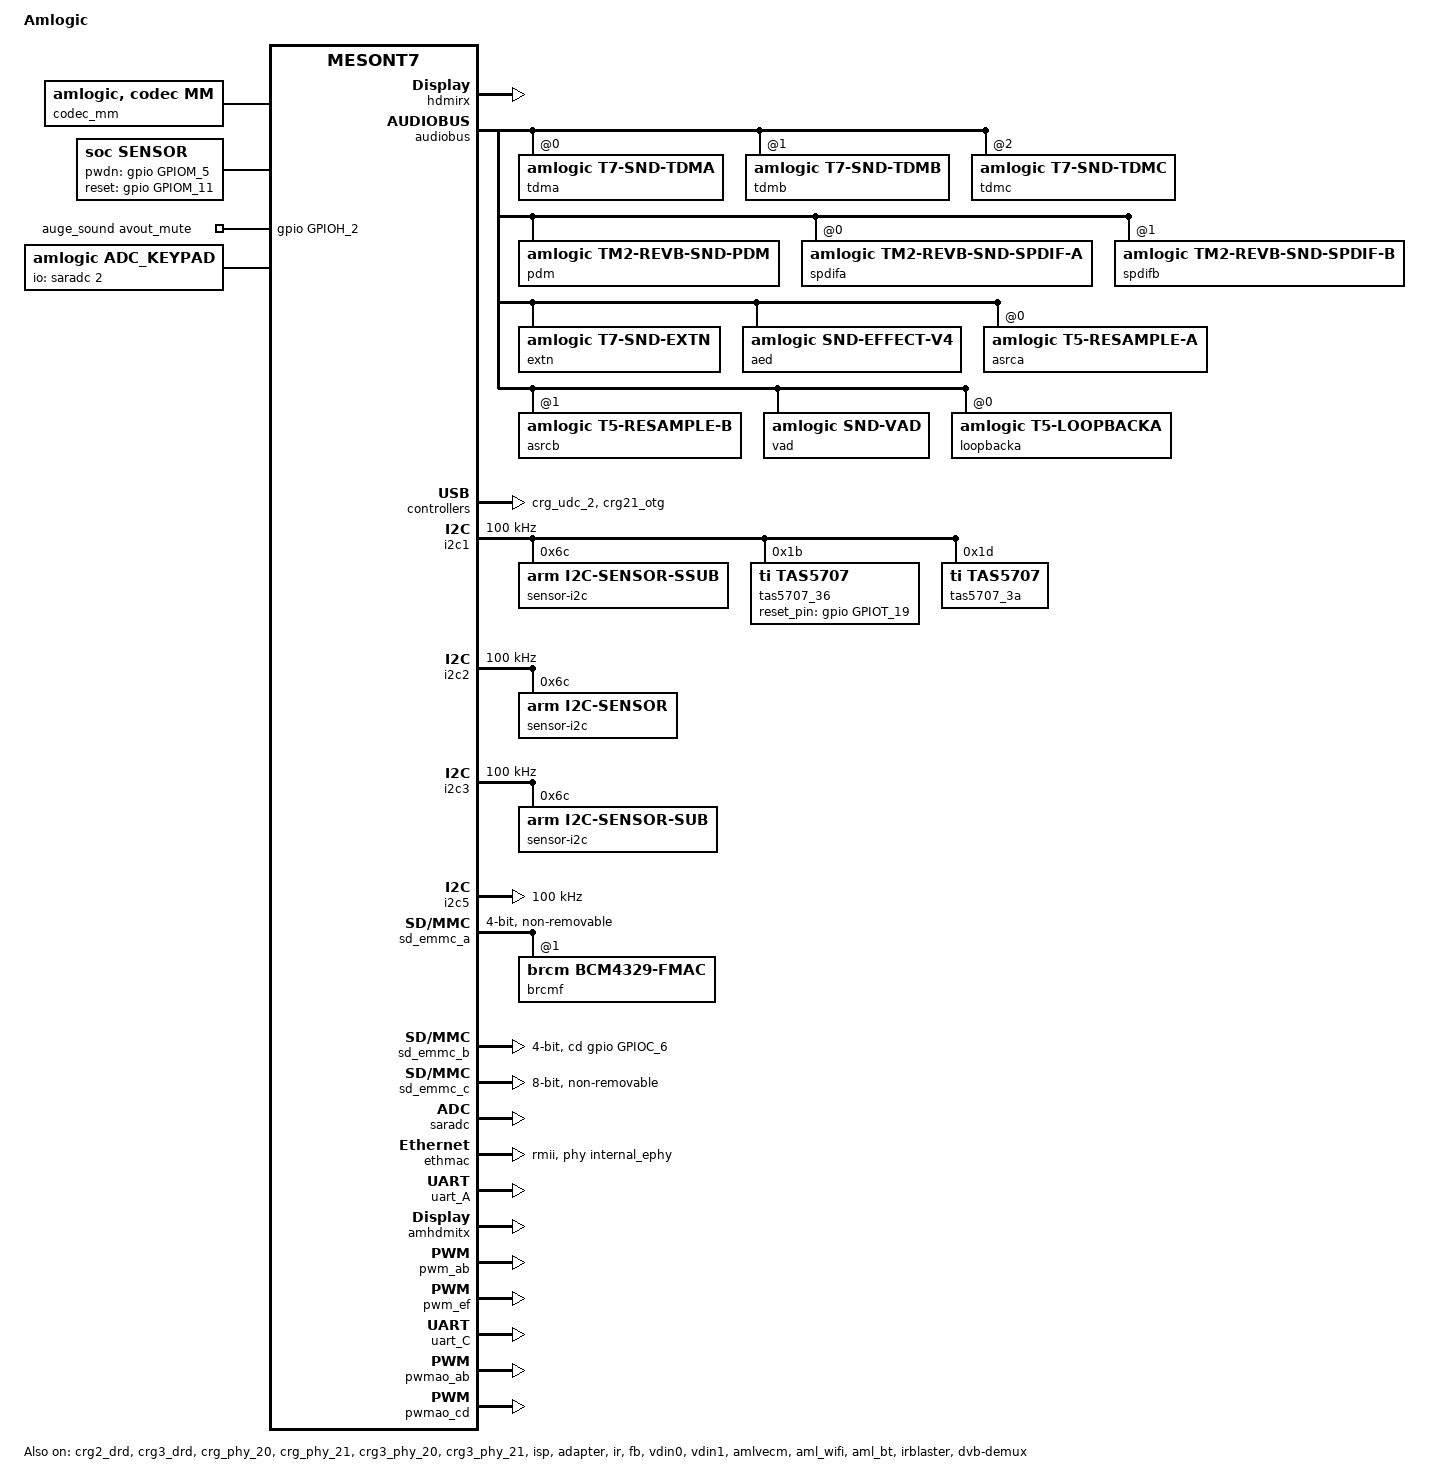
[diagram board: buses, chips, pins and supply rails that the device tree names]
// SPDX-License-Identifier: (GPL-2.0+ OR MIT)
/*
 * Copyright (c) 2021 Amlogic, Inc. All rights reserved.
 */

/dts-v1/;

#include "mesont7.dtsi"
#include "partition_normal_PR_32.dtsi"
#include <dt-bindings/input/input.h>
#include "mesont7_an400-panel.dtsi"

/ {
	model = "Amlogic";
	amlogic-dt-id = "t7_a311d2_an400-3g";
	compatible = "amlogic, t7";
	interrupt-parent = <&gic>;
	#address-cells = <2>;
	#size-cells = <2>;

	aliases {
		serial0 = &uart_A;
		serial1 = &uart_C;
		serial2 = &uart_B;
		serial3 = &uart_D;
		serial4 = &uart_E;
		serial5 = &uart_F;
		i2c0 = &i2c0;
		i2c1 = &i2c1;
		i2c2 = &i2c2;
		i2c3 = &i2c3;
		i2c4 = &i2c4;
		i2c5 = &i2c5;
		i2c6 = &i2c_AO_A;
		i2c7 = &i2c_AO_B;
		spi0 = &spifc;
		spi1 = &spicc0;
		spi2 = &spicc1;
		spi3 = &spicc2;
		spi4 = &spicc3;
		spi5 = &spicc4;
		spi6 = &spicc5;
		tsensor0 = &a73_tsensor;
		tsensor1 = &a53_tsensor;
		tsensor2 = &gpu_tsensor;
		tsensor3 = &nna_tsensor;
		tsensor4 = &hevc_tsensor;
		tsensor5 = &vpu_tsensor;
	};

	memory@00000000 {
		device_type = "memory";
		linux,usable-memory = <0x0 0x000000 0x0 0xC0000000>;
	};

	reserved-memory {
		#address-cells = <2>;
		#size-cells = <2>;
		ranges;

		/* global autoconfigured region for contiguous allocations */
		ramoops@0x07400000 {
			compatible = "ramoops";
			reg = <0x0 0x07400000 0x0 0x00100000>;
			record-size = <0x20000>;
			console-size = <0x40000>;
			ftrace-size = <0x80000>;
			pmsg-size = <0x10000>;
			bconsole-size = <0x10000>;
		};

		secmon_reserved:linux,secmon {
			compatible = "shared-dma-pool";
			reusable;
			size = <0x0 0x3400000>;
			alignment = <0x0 0x400000>;
			alloc-ranges = <0x0 0x05000000 0x0 0x3400000>;
			clear-map;
		};

		dsp_fw_reserved:linux,dsp_fw {
			compatible = "shared-dma-pool";
			reusable;
			size = <0x0 0x1000000>;
			alignment = <0x0 0x400000>;
			alloc-ranges = <0x0 0x40000000 0x0 0x1000000>;
		};

		/*dsp_shm_reserved:linux,dsp_shm {      */
		/*	compatible = "dspshmem";            */
		/*	reg = <0x0 0x40820000 0x0 0x80000>; */
		/*	size = <0x80000>;                   */
		/*};*/

		logo_reserved:linux,meson-fb {
			compatible = "shared-dma-pool";
			reusable;
			size = <0x0 0x800000>;
			alignment = <0x0 0x400000>;
			alloc-ranges = <0x0 0x3f800000 0x0 0x800000>;
		};

		codec_mm_cma:linux,codec_mm_cma {
			compatible = "shared-dma-pool";
			reusable;
			/* ion_codec_mm max can alloc size 80M*/
			size = <0x0 0x1b000000>;
			alignment = <0x0 0x400000>;
			linux,contiguous-region;
			clear-map;
		};

		/*di CMA pool */
		di_cma_reserved:linux,di_cma {
			compatible = "shared-dma-pool";
			reusable;
			/* buffer_size = 3621952(yuv422 8bit)
			 *  | 4736064(yuv422 10bit)
			 *  | 4074560(yuv422 10bit full pack mode)
			 * 10x3621952=34.6M(0x23) support 8bit
			 * 10x4736064=45.2M(0x2e) support 12bit
			 * 10x4074560=40M(0x28) support 10bit
			 */
			size = <0x0 0x0B000000>;
			//size = <0x0 0x0>;
			alignment = <0x0 0x400000>;
		};

		/*  POST PROCESS MANAGER */
		ppmgr_reserved:linux,ppmgr {
			compatible = "shared-dma-pool";
			size = <0x0 0x0>;
		};

		isp_cma_reserved:linux,isp_cma {
			compatible = "shared-dma-pool";
			reusable;
			status = "okay";
			size = <0x0 0x8000000>;
			alignment = <0x0 0x400000>;
		};

		adapt_cma_reserved:linux,adapt_cma {
			compatible = "shared-dma-pool";
			reusable;
			status = "okay";
			size = <0x0 0x4000000>;
			alignment = <0x0 0x400000>;
		};

		ion_cma_reserved:linux,ion-dev {
			compatible = "shared-dma-pool";
			reusable;
			size = <0x0 0x9800000>;
			alignment = <0x0 0x400000>;
		};
		/* secure ion for gpu,advice size is 0x8000000 */
		ion_secure_reserved:linux,ion-secure {
			compatible = "amlogic, ion-secure-mem";
			no-map;
			size = <0x0 0x0>;
			alignment = <0x0 0x400000>;
		};
		ion_fb_reserved:linux,ion-fb {
			compatible = "shared-dma-pool";
			reusable;
			/* 1920x1080x4x3 round up 4M align */
			size = <0x0 0x6000000>;
			alignment = <0x0 0x400000>;
		};
		/* codec shared reserved */
		codec_mm_reserved:linux,codec_mm_reserved {
			compatible = "amlogic, codec-mm-reserved";
			size = <0x0 0x0>;
			alignment = <0x0 0x100000>;
			//no-map;
		};

		/*  vdin0 CMA pool */
		/*vdin0_cma_reserved:linux,vdin0_cma {*/
		/*	compatible = "shared-dma-pool";*/
		/*	reusable;*/
			/* up to 1920x1080 yuv422 8bit and 5 buffers
			 * 1920x1080x2x5 = 20 M
			 */
		/*	size = <0x0 0x01400000>;*/
		/*	alignment = <0x0 0x400000>;*/
		/*};*/
		/*  vdin1 CMA pool */
		vdin1_cma_reserved:linux,vdin1_cma {
			compatible = "shared-dma-pool";
			reusable;
			/* up to 1920x1080 yuv422 8bit and 5 buffers
			 * 1920x1080x2x5 = 20 M
			 */
			size = <0x0 0x01400000>;
			alignment = <0x0 0x400000>;
		};

		ldc_mem_reserved:linux,ldc_mem {
			compatible = "shared-dma-pool";
			reusable;
			size = <0x0 0x400000>;
			alignment = <0x0 0x400000>;
		};
	};

	codec_mm {
		compatible = "amlogic, codec, mm";
		memory-region = <&codec_mm_cma &codec_mm_reserved>;
		dev_name = "codec_mm";
		status = "okay";
	};

	cvbsout {
		compatible = "amlogic, cvbsout-sc2";
		status = "disabled";

		/* clk path */
		/* 0:vid_pll vid2_clk */
		/* 1:gp0_pll vid2_clk */
		/* 2:vid_pll vid1_clk */
		/* 3:gp0_pll vid1_clk */
		clk_path = <0>;

		/* performance: reg_address, reg_value */
		/* tm2 */
		performance = <0x1bf0  0x9
			0x1b56  0x333
			0x1b12  0x8080
			0x1b05  0xfd
			0x1c59  0xf850
			0xffff  0x0>; /* ending flag */
		performance_sarft = <0x1bf0  0x9
			0x1b56  0x333
			0x1b12  0x0
			0x1b05  0x9
			0x1c59  0xfc48
			0xffff  0x0>; /* ending flag */
		performance_revB_telecom = <0x1bf0  0x9
			0x1b56  0x546
			0x1b12  0x8080
			0x1b05  0x9
			0x1c59  0xf850
			0xffff  0x0>; /* ending flag */
	};

	multi-di {
		//status = "okay";
		/***************************************************
		 * memory: default is 4
		 *	0:use reserved;
		 *	1:use cma;
		 *	2:use cma as reserved
		 *  4:use codec mem
		 ***************************************************/
		//flag_cma = <4>;
		//memory-region = <&di_cma_reserved>;
		/***************************************************
		 * clock-range: <min max>
		 *	default: <334 334>
		 ***************************************************/
		//clock-range = <334 334>;
		/***************************************************
		 * en_4k: t5d not support 4k
		 ***************************************************/
		en_4k = <0>;
		//keep_dec_vf = <2>;
		//po_fmt = <6>;
		/***************************************************
		 * post_nub: default is 11 (T7/T3/SC2/S4 new path)
		 * local 7*4075520 = 28
		 * post 11*5222400 = 56
		 ***************************************************/
		//post_nub = <11>;
		/***************************************************
		 * 0:not support
		 * bit 0: for 4k
		 * bit 1: for 1080p
		 ***************************************************/
		alloc_sct = <0>;
		/***************************************************
		 * hf: default is 0 (T7/T3/SC2/S4 new path)
		 * 0:not enable;
		 * 1: enable
		 ***************************************************/
		//hf = <0>;
	};

	provisionkey {
		compatible = "amlogic, provisionkey";
		status = "okay";
		key-permit-default = "write";
		//new key not need add dts if started with KEY_PROVISION_
		KEY_PROVISION_XXX { };
		//test_my_added_keyname { };
	};//End provisionkey

	unifykey{
		compatible = "amlogic,unifykey";
		status = "okay";
		unifykey-num = <19>;
		unifykey-index-0 = <&keysn_0>;
		unifykey-index-1 = <&keysn_1>;
		unifykey-index-2 = <&keysn_2>;
		unifykey-index-3 = <&keysn_3>;
		unifykey-index-4 = <&keysn_4>;
		unifykey-index-5 = <&keysn_5>;
		unifykey-index-6 = <&keysn_6>;
		unifykey-index-7 = <&keysn_7>;
		unifykey-index-8 = <&keysn_8>;
		unifykey-index-9 = <&keysn_9>;
		unifykey-index-10= <&keysn_10>;
		unifykey-index-11= <&keysn_11>;
		unifykey-index-12= <&keysn_12>;
		unifykey-index-13= <&keysn_13>;
		unifykey-index-14= <&keysn_14>;
		unifykey-index-15= <&keysn_15>;
		unifykey-index-16= <&keysn_16>;
		unifykey-index-17= <&keysn_17>;
		unifykey-index-18= <&keysn_18>;
		unifykey-index-19= <&keysn_19>;
		unifykey-index-20= <&keysn_20>;
		unifykey-index-21= <&keysn_21>;

		keysn_0: key_0{
			key-name = "usid";
			key-device = "normal";
			key-permit = "read","write","del";
		};
		keysn_1:key_1{
			key-name = "mac";
			key-device = "normal";
			key-permit = "read","write","del";
		};
		keysn_2:key_2{
			key-name = "hdcp";
			key-device = "secure";
			key-type = "sha1";
			key-permit = "read","write","del";
		};
		keysn_3:key_3{
			key-name = "secure_boot_set";
			key-device = "efuse";
			key-permit = "write";
		};
		keysn_4:key_4{
			key-name = "mac_bt";
			key-device = "normal";
			key-permit = "read","write","del";
			key-type  = "mac";
		};
		keysn_5:key_5{
			key-name = "mac_wifi";
			key-device = "normal";
			key-permit = "read","write","del";
			key-type = "mac";
		};
		keysn_6:key_6{
			key-name = "hdcp2_tx";
			key-device = "normal";
			key-permit = "read","write","del";
		};
		keysn_7:key_7{
			key-name = "hdcp2_rx";
			key-device = "normal";
			key-permit = "read","write","del";
		};
		keysn_8:key_8{
			key-name = "widevinekeybox";
			key-device = "secure";
			key-permit = "read","write","del";
		};
		keysn_9:key_9{
			key-name = "deviceid";
			key-device = "normal";
			key-permit = "read","write","del";
		};
		keysn_10:key_10{
			key-name = "hdcp22_fw_private";
			key-device = "secure";
			key-permit = "read","write","del";
		};
		keysn_11:key_11{
			key-name = "PlayReadykeybox25";
			key-device = "secure";
			key-permit = "read","write","del";
		};
		keysn_12:key_12{
			key-name = "prpubkeybox";// PlayReady
			key-device = "secure";
			key-permit = "read","write","del";
		};
		keysn_13:key_13{
			key-name = "prprivkeybox";// PlayReady
			key-device = "secure";
			key-permit = "read","write","del";
		};
		keysn_14:key_14{
			key-name = "attestationkeybox";// attestation key
			key-device = "secure";
			key-permit = "read","write","del";
		};
		keysn_15:key_15{
			key-name = "region_code";
			key-device = "normal";
			key-permit = "read","write","del";
		};
		keysn_16:key_16{
			key-name = "netflix_mgkid";
			key-device = "secure";
			key-permit = "read","write","del";
		};
		keysn_17:key_17{
			key-name = "attestationdevidbox";// attest dev id box
			key-device = "secure";
			key-permit = "read","write","del";
		};
		keysn_18:key_18{
			key-name = "oemkey";
			key-device = "normal";
			key-permit = "read","write","del";
		};
		keysn_19:key_19{
			key-name = "lcd";
			key-device = "normal";
			key-permit = "read","write","del";
		};
		keysn_20:key_20{
			key-name = "lcd_extern";
			key-device = "normal";
			key-permit = "read","write","del";
		};
		keysn_21:key_21{
			key-name = "backlight";
			key-device = "normal";
			key-permit = "read","write","del";
		};
	};//End unifykey

	sensor: sensor {
		compatible = "soc, sensor";
		status = "okay";
		sensor-name = "imx290"; /*imx290;os08a10;imx227*/
		sensor-name-sub = "imx290sub";
		sensor-name-ssub = "imx290ssub";
		pinctrl-names= "default";
		power-domains = <&pwrdm PDID_T7_MIPI_ISP>;
		clocks = <&clkc CLKID_MCLK_0>,
				<&clkc CLKID_MCLK_1>,
				<&clkc CLKID_MCLK_0_PRE>,
				<&clkc CLKID_MCLK_1_PRE>,
				<&clkc CLKID_MCLK_PLL>,
				<&xtal>;
		clock-names = "mclk_0","mclk_1","mclk_0_pre","mclk_1_pre","mclk_p","mclk_x";
		pwdn = <&gpio GPIOM_5 GPIO_ACTIVE_HIGH>;
		reset = <&gpio GPIOM_11 GPIO_ACTIVE_HIGH>;
	};

	iq: iq {
		compatible = "soc, iq";
		status = "okay";
		sensor-name = "imx290"; /*imx290;os08a10;imx227*/
	};

	hdmirx {
		compatible = "amlogic, hdmirx_t7";
		#address-cells=<1>;
		#size-cells=<1>;
		/*memory-region = <&hdmirx_emp_cma_reserved>;*/
		status = "okay";
		pinctrl-names = "hdmirx_pins";
		pinctrl-0 = <&hdmirx_a_mux &hdmirx_b_mux
			&hdmirx_c_mux>;
		repeat = <0>;
		power-domains = <&pwrdm PDID_T7_HDMIRX>;
		interrupts = <0 57 IRQ_TYPE_LEVEL_HIGH>;
		clocks =<&clkc CLKID_HDMIRX_CFG>,
			   <&clkc CLKID_HDMIRX_ACR>,
			   <&clkc CLKID_HDMIRX_METER>,
			   <&clkc CLKID_HDMIRX_2M>,
			   <&clkc CLKID_HDMIRX_5M>,
			   <&clkc CLKID_HDMIRX_HDCP>,
			   <&xtal>,
			   <&clkc CLKID_FCLK_DIV4>,
			   <&clkc CLKID_FCLK_DIV5>;
		clock-names = "hdmirx_cfg_clk",
				"cts_hdmirx_acr_ref_clk",
				"cts_hdmirx_meter_clk",
				"cts_hdmirx_2m_clk",
				"cts_hdmirx_5m_clk",
				"cts_hdmirx_hdcp2x_eclk",
				"xtal",
				"fclk_div4",
				"fclk_div5";
		hdmirx_id = <0>;
		en_4k_2_2k = <0>;
		hpd_low_cec_off = <0>;
		arc_port = <1>;
		/* bit4: enable feature, bit3~0: port number */
		disable_port = <0x0>;
		/* MAP_ADDR_MODULE_CBUS */
		/* MAP_ADDR_MODULE_HIU */
		/* MAP_ADDR_MODULE_HDMIRX_CAPB3 */
		/* MAP_ADDR_MODULE_SEC_AHB */
		/* MAP_ADDR_MODULE_SEC_AHB2 */
		/* MAP_ADDR_MODULE_APB4 */
		/* MAP_ADDR_MODULE_TOP */
		/* MAP_ADDR_MODULE_CLK_CTRL */
		reg = < 0x0 0x0 0x0 0x0
			0x0 0xff63C000 0x0 0x2000
			0x0 0xffe0d000 0x0 0x2000
			0x0 0x0 0x0 0x0
			0x0 0x0 0x0 0x0
			0x0 0x0 0x0 0x0
			0x0 0xfe398000 0x0 0x18000
			0x0 0xfe000000 0x0 0x1fff>;
	};

	/* Audio Related start */
	auge_sound {
		compatible = "amlogic, auge-sound-card";
		aml-audio-card,name = "AML-AUGESOUND";

		/*avout mute gpio*/
		avout_mute-gpios = <&gpio GPIOH_2 GPIO_ACTIVE_HIGH>;
		//spk_mute-gpios = <&gpio GPIOD_2 GPIO_ACTIVE_LOW>;

		interrupts = <GIC_SPI 51 IRQ_TYPE_EDGE_RISING>;
		interrupt-names = "audio_exception64";

		status = "okay";

		aml-audio-card,dai-link@0 {
			format = "dsp_a";
			mclk-fs = <512>;
			continuous-clock;
			//bitclock-inversion;
			//frame-inversion;
			/* master mode */
			bitclock-master = <&tdma>;
			frame-master = <&tdma>;
			/* slave mode */
			/*
			 * bitclock-master = <&tdmacodec>;
			 * frame-master = <&tdmacodec>;
			 */
			/* suffix-name, sync with android audio hal used for */
			suffix-name = "alsaPORT-pcm";
			tdmacpu: cpu {
				sound-dai = <&tdma>;
				dai-tdm-slot-tx-mask =
							<1>;
				dai-tdm-slot-rx-mask =
							<1>;
				dai-tdm-slot-num = <2>;
				dai-tdm-slot-width = <16>;
				system-clock-frequency = <256000>;
			};
			tdmacodec: codec {
				sound-dai = <&dummy_codec>;
			};
		};

		aml-audio-card,dai-link@1 {
			format = "i2s";
			mclk-fs = <256>;
			continuous-clock;
			//bitclock-inversion;
			//frame-inversion;
			/* master mode */
			bitclock-master = <&tdmb>;
			frame-master = <&tdmb>;
			/* slave mode */
			//bitclock-master = <&tdmbcodec>;
			//frame-master = <&tdmbcodec>;
			/* suffix-name, sync with android audio hal used for */
			suffix-name = "alsaPORT-i2s-i2s4hdmirx";
			cpu {
				sound-dai = <&tdmb>;
				dai-tdm-slot-tx-mask = <1 1>;
				dai-tdm-slot-rx-mask = <1 1>;
				dai-tdm-slot-num = <2>;
				dai-tdm-slot-width = <32>;
				system-clock-frequency = <12288000>;
			};
			tdmbcodec: codec {
				prefix-names = "AMP", "AMP1";
				sound-dai = <&tas5707_36 &tas5707_3a &acodec>;
			};
		};

		aml-audio-card,dai-link@2 {
			format = "i2s";
			mclk-fs = <256>;
			//continuous-clock;
			//bitclock-inversion;
			//frame-inversion;
			/* master mode */
			bitclock-master = <&tdmc>;
			frame-master = <&tdmc>;
			/* slave mode */
			//bitclock-master = <&tdmccodec>;
			//frame-master = <&tdmccodec>;
			/* suffix-name, sync with android audio hal used for */
			suffix-name = "alsaPORT-i2s4parser";
			cpu {
				sound-dai = <&tdmc>;
				dai-tdm-slot-tx-mask = <1 1>;
				dai-tdm-slot-rx-mask = <1 1>;
				dai-tdm-slot-num = <2>;
				dai-tdm-slot-width = <32>;
				system-clock-frequency = <12288000>;
			};
			tdmccodec: codec {
				sound-dai = <&dummy_codec>;
			};
		};

		aml-audio-card,dai-link@3 {
			mclk-fs = <64>;
			/* suffix-name, sync with android audio hal used for */
			suffix-name = "alsaPORT-pdm";
			cpu {
				sound-dai = <&pdm>;
			};
			codec {
				sound-dai = <&dummy_codec>;
			};
		};

		aml-audio-card,dai-link@4 {
			mclk-fs = <128>;
			continuous-clock;
			/* suffix-name, sync with android audio hal used for */
			suffix-name = "alsaPORT-spdif";
			cpu {
				sound-dai = <&spdifa>;
				system-clock-frequency = <6144000>;
			};
			codec {
				sound-dai = <&dummy_codec>;
			};
		};

		aml-audio-card,dai-link@5 {
			mclk-fs = <128>;
			suffix-name = "alsaPORT-spdifb";
			cpu {
				sound-dai = <&spdifb>;
				system-clock-frequency = <6144000>;
			};
			codec {
				sound-dai = <&dummy_codec>;
			};
		};

		aml-audio-card,dai-link@6 {
			mclk-fs = <256>;
			suffix-name = "alsaPORT-tv";
			cpu {
				sound-dai = <&extn>;
				system-clock-frequency = <12288000>;
			};
			codec {
				sound-dai = <&dummy_codec>;
			};
		};

//		aml-audio-card,dai-link@7 {
//			mclk-fs = <256>;
//			suffix-name = "alsaPORT-earc";
//			cpu {
//				sound-dai = <&earc>;
//				system-clock-frequency = <12288000>;
//			};
//			codec {
//				sound-dai = <&dummy_codec>;
//			};
//		};

		aml-audio-card,dai-link@7 {
			mclk-fs = <256>;
			continuous-clock;
			suffix-name = "alsaPORT-loopback";
			cpu {
				sound-dai = <&loopbacka>;
				system-clock-frequency = <12288000>;
			};
			codec {
				sound-dai = <&dummy_codec>;
			};
		};
	};
	/* Audio Related end */

	picdec {
		compatible = "amlogic, picdec";
		status = "okay";
	};

	ppmgr {
		compatible = "amlogic, ppmgr";
		memory-region = <&ppmgr_reserved>;
		dev_name = "ppmgr";
		status = "okay";
	};

	video_queue {
		compatible = "amlogic, video_queue";
		dev_name = "videoqueue";
		status = "okay";
	};

	amdolby_vision {
		compatible = "amlogic, dolby_vision_t7";
		dev_name = "aml_amdolby_vision_driver";
		status = "okay";
		tv_mode = <1>;/*1:enabel ;0:disable*/
	};

    /* SMC */
	smartcard {
		compatible = "amlogic,smartcard-sc2";
		dev_name = "smartcard";
		status = "disabled";

		reg = <0x0 0xfe000000 0x0 0x480000>;
		irq_trigger_type = "GPIO_IRQ_LOW";

		reset_pin-gpios = <&gpio GPIOH_7 GPIO_ACTIVE_HIGH>;
		detect_pin-gpios = <&gpio GPIOH_6 GPIO_ACTIVE_HIGH>;
		enable_5v3v_pin-gpios = <&gpio GPIOT_11 GPIO_ACTIVE_HIGH>;
		enable_pin-gpios = <&gpio GPIOT_12 GPIO_ACTIVE_HIGH>;

		interrupts = <0 174 1>;
		interrupt-names = "smc0_irq";
		/*
		 *Smc clock source, if change this,
		 *you must adjust clk and divider in smartcard.c
		 */
		smc0_clock_source = <0>;
		/*0: high voltage on detect pin indicates card in.*/
		smc0_det_invert = <0>;
		smc0_5v3v_level = <0>;
		/*Ordinarily,smartcard controller needs a enable pin.*/
		smc_need_enable_pin = "yes";
		reset_level = <0>;
		smc0_enable_level = <0>;

		pinctrl-names = "default";
		pinctrl-0 = <&sd_iso7816_pins>;
		clocks = <&clkc CLKID_SC_CLK_GATE>;
		clock-names = "smartcard";
	};

	dvb-extern {
		compatible = "amlogic, dvb-extern";
		dev_name = "dvb-extern";
		/*GPIOT-19 conflict with audio speaker */
		status = "disabled";

		fe_num = <2>;
		fe0_demod = "cxd2856";
		fe0_i2c_adap_id = <&i2c5>;
		fe0_demod_i2c_addr = <0xD8>;
		fe0_reset_value = <0>;
		fe0_reset_gpio = <&gpio GPIOT_19 GPIO_ACTIVE_HIGH>;
		fe0_reset_dir = <1>; /* 0: out, 1: in. */
		fe0_ant_poweron_value = <0>;
		fe0_ant_power_gpio = <&gpio GPIOT_18 GPIO_ACTIVE_HIGH>;
		fe0_ts  = <0>;
		fe0_tuner0 = <0>; /* T/C */
		fe0_tuner1 = <1>; /* S */

		fe1_demod = "cxd2856";
		fe1_i2c_adap_id = <&i2c5>;
		fe1_demod_i2c_addr = <0xCA>;
		fe1_reset_value = <0>;
		fe1_reset_gpio = <&gpio GPIOT_19 GPIO_ACTIVE_HIGH>;
		fe1_reset_dir = <1>; /* 0: out, 1: in. */
		fe1_ant_poweron_value = <0>;
		fe1_ant_power_gpio = <&gpio GPIOT_18 GPIO_ACTIVE_HIGH>;
		fe1_ts  = <1>;
		fe1_tuner0 = <0>; /* T/C */
		fe1_tuner1 = <1>; /* S */

		tuner_num = <2>; /* for extern demod use tuner */
		tuner0_name = "r836_tuner";
		tuner1_name = "av2018_tuner";
	};

	dvb-demux {
		compatible = "amlogic sc2, dvb-demux";
		dev_name = "dvb-demux";
		status = "okay";

		reg = <0x0 0xfe000000 0x0 0x480000>;

		dmxdev_num = <3>;

		tsn_from = "demod";

		/*single demod setting */
		ts0_sid = <0x20>;
		ts0 = "serial-4wire"; /* tsinA: serial-4wire, serial-3wire */
		ts0_control = <0x0>;
		ts0_invert = <0>;

		ts1_sid = <0x21>;
		ts1 = "serial-4wire";
		ts1_control = <0x0>;
		ts1_invert = <0>;

		pinctrl-names = "s_ts0", "s_ts1";
		pinctrl-0 = <&dvb_s_ts0_pins>;
		pinctrl-1 = <&dvb_s_ts1_pins>;
	};

	ionvideo {
		compatible = "amlogic, ionvideo";
		dev_name = "ionvideo";
		status = "okay";
	};

	amlvideo2_0 {
		compatible = "amlogic, amlvideo2";
		dev_name = "amlvideo2";
		status = "okay";
		amlvideo2_id = <0>;
		cma_mode = <1>;
	};

	amlvideo2_1 {
		compatible = "amlogic, amlvideo2";
		dev_name = "amlvideo2";
		status = "okay";
		amlvideo2_id = <1>;
		cma_mode = <1>;
	};

	adc_keypad {
		compatible = "amlogic, adc_keypad";
		status = "okay";
		key_name = "update", "vol-", "vol+", "enter";
		key_num = <4>;
		io-channels = <&saradc 2>;
		io-channel-names = "key-chan-2";
		key_chan = <2 2 2 2>;
		key_code = <141 114 115 28>;
		key_val = <0 143 266 389>; //val=voltage/1800mV*1023
		key_tolerance = <40 40 40 40>;
	};
};

&audiobus {
	tdma:tdm@0 {
		compatible = "amlogic, t7-snd-tdma";
		#sound-dai-cells = <0>;

		dai-tdm-lane-slot-mask-in = <1 0>;
		dai-tdm-lane-slot-mask-out = <1 1>;
		dai-tdm-clk-sel = <0>;

		clocks = <&clkaudio CLKID_AUDIO_MCLK_A
				&clkc CLKID_MPLL0>;
		clock-names = "mclk", "clk_srcpll";

		status = "okay";
	};

	tdmb:tdm@1 {
		compatible = "amlogic, t7-snd-tdmb";
		#sound-dai-cells = <0>;

		dai-tdm-lane-slot-mask-in = <1 1 1 1>;
		dai-tdm-lane-slot-mask-out = <1 1 1 1>;
		dai-tdm-clk-sel = <1>;

		clocks = <&clkaudio CLKID_AUDIO_MCLK_B
				&clkaudio CLKID_AUDIO_MCLK_PAD1
				&clkc CLKID_MPLL1>;
		clock-names = "mclk", "mclk_pad", "clk_srcpll";

		pinctrl-names = "tdm_pins";
		pinctrl-0 = <&mclk_1_pins
			&tdm_b_pins
			&tdm_d4_pins
			&tdm_d5_pins
			&tdm_clk_pins>;

		/*
		 * 0: tdmout_a;
		 * 1: tdmout_b;
		 * 2: tdmout_c;
		 * 3: spdifout;
		 * 4: spdifout_b;
		 */
		samesource_sel = <3>;

		/* In for ACODEC_ADC */
		/* tdmin-src-name = "acodec_adc"; */
		tdmin-src-name = "hdmirx";
		/*enable default mclk(12.288M), before extern codec start*/
		start_clk_enable = <1>;
		ctrl_gain = <1>;
		/*tdm clk tuning enable*/
		clk_tuning_enable = <1>;
		status = "okay";

		/* !!!For --TV platform-- ONLY */
		Channel_Mask {
			/*i2s has 4 pins, 8channel, mux output*/
			Spdif_samesource_Channel_Mask = "i2s_2/3";
		};
	};

	tdmc:tdm@2 {
		compatible = "amlogic, t7-snd-tdmc";
		#sound-dai-cells = <0>;

		dai-tdm-lane-slot-mask-in = <1 1 1 1>;
		dai-tdm-lane-slot-mask-out = <1 1 1 1>;
		dai-tdm-clk-sel = <2>;

		clocks = <&clkaudio CLKID_AUDIO_MCLK_C
				&clkc CLKID_MPLL2>;
		clock-names = "mclk", "clk_srcpll";
		tdmin-src-name = "hdmirx";
		i2s2hdmi = <1>;

		status = "okay";
	};

	pdm:pdm {
		compatible = "amlogic, tm2-revb-snd-pdm";
		#sound-dai-cells = <0>;

		clocks = <&clkaudio CLKID_AUDIO_GATE_PDM
			&clkc CLKID_FCLK_DIV3
			&clkc CLKID_MPLL3
			&clkaudio CLKID_AUDIO_PDMIN0
			&clkaudio CLKID_AUDIO_PDMIN1>;
		clock-names = "gate",
			"sysclk_srcpll",
			"dclk_srcpll",
			"pdm_dclk",
			"pdm_sysclk";

		pinctrl-names = "pdm_pins";
		pinctrl-0 = <&pdmin_pins>;

		/* mode 0~4, defalut:1 */
		filter_mode = <1>;

		train_sample_count = <0xb>;

		status = "okay";
	};

	spdifa:spdif@0 {
		compatible = "amlogic, tm2-revb-snd-spdif-a";
		#sound-dai-cells = <0>;

		clocks = <&clkc CLKID_MPLL0
				&clkc CLKID_FCLK_DIV4
				&clkaudio CLKID_AUDIO_GATE_SPDIFIN
				&clkaudio CLKID_AUDIO_GATE_SPDIFOUT_A
				&clkaudio CLKID_AUDIO_SPDIFIN
				&clkaudio CLKID_AUDIO_SPDIFOUT_A>;
		clock-names = "sysclk", "fixed_clk", "gate_spdifin",
				"gate_spdifout", "clk_spdifin", "clk_spdifout";
		interrupts =
				<GIC_SPI 35 IRQ_TYPE_EDGE_RISING>;

		interrupt-names = "irq_spdifin";
		pinctrl-names = "spdif_pins", "spdif_pins_mute";
		pinctrl-0 = <&spdifout_d>;
		pinctrl-1 = <&spdifout_d_mute>;

		samesource_sel = <4>;

		/*spdif clk tuning enable*/
		clk_tuning_enable = <1>;
		status = "okay";
	};
	spdifb:spdif@1 {
		compatible = "amlogic, tm2-revb-snd-spdif-b";
		#sound-dai-cells = <0>;
		clocks = <&clkc CLKID_MPLL2 /*CLKID_HIFI_PLL*/
				&clkaudio CLKID_AUDIO_GATE_SPDIFOUT_B
				&clkaudio CLKID_AUDIO_SPDIFOUT_B>;
		clock-names = "sysclk",
				"gate_spdifout", "clk_spdifout";

		status = "okay";
	};

	extn:extn {
		compatible = "amlogic, t7-snd-extn";
		#sound-dai-cells = <0>;

		interrupts =
				<GIC_SPI 42 IRQ_TYPE_EDGE_RISING>;
		interrupt-names = "irq_frhdmirx";

		status = "okay";
	};

	aed:effect {
		compatible = "amlogic, snd-effect-v4";
		#sound-dai-cells = <0>;

		clocks = <&clkaudio CLKID_AUDIO_GATE_EQDRC
			&clkc CLKID_FCLK_DIV5
			&clkaudio CLKID_AUDIO_EQDRC>;
		clock-names = "gate", "srcpll", "eqdrc";

		/*
		 * 0:tdmout_a
		 * 1:tdmout_b
		 * 2:tdmout_c
		 * 3:spdifout
		 * 4:spdifout_b
		 */
		eqdrc_module = <1>;
		/* max 0xf, each bit for one lane, usually one lane */
		lane_mask = <0x1>;
		/* max 0xff, each bit for one channel */
		channel_mask = <0xff>;

		status = "okay";
	};

	asrca:resample@0 {
		compatible = "amlogic, t5-resample-a";
		clocks = <&clkc CLKID_MPLL1
			&clkaudio CLKID_AUDIO_MCLK_B
			&clkaudio CLKID_AUDIO_RESAMPLE_A>;
		clock-names = "resample_pll", "resample_src", "resample_clk";

		/*same with toddr_src
		 *	TDMIN_A,    0
		 *	TDMIN_B,    1
		 *	TDMIN_C,    2
		 *	SPDIFIN,    3
		 *	PDMIN,      4
		 *	FRATV,      5
		 *	TDMIN_LB,   6
		 *	LOOPBACK_A, 7
		 *	FRHDMIRX,   8
		 *	LOOPBACK_B, 9
		 *	SPDIFIN_LB, 10
		 *	EARC_RX,    11
		 */
		resample_module = <8>;

		status = "okay";
	};

	asrcb:resample@1 {
		compatible = "amlogic, t5-resample-b";
		clocks = <&clkc CLKID_MPLL3
			&clkaudio CLKID_AUDIO_MCLK_F
			&clkaudio CLKID_AUDIO_RESAMPLE_B>;
		clock-names = "resample_pll", "resample_src", "resample_clk";

		/*this resample is only used for loopback_A.*/
		capture_sample_rate = <16000>;

		status = "okay";
	};

	vad:vad {
		compatible = "amlogic, snd-vad";
		#sound-dai-cells = <0>;

		clocks = <&clkaudio CLKID_AUDIO_GATE_TOVAD
			&clkc CLKID_FCLK_DIV5
			&clkaudio CLKID_AUDIO_VAD>;
		clock-names = "gate", "pll", "clk";

		interrupts = <GIC_SPI 39 IRQ_TYPE_EDGE_RISING
				GIC_SPI 44 IRQ_TYPE_EDGE_RISING>;
		interrupt-names = "irq_wakeup", "irq_frame_sync";

		/*
		 * Data src sel:
		 * 0: tdmin_a;
		 * 1: tdmin_b;
		 * 2: tdmin_c;
		 * 3: spdifin;
		 * 4: pdmin;
		 * 5: loopback_b;
		 * 6: tdmin_lb;
		 * 7: loopback_a;
		 */
		src = <4>;

		/*
		 * deal with hot word in user space or kernel space
		 * 0: in user space
		 * 1: in kernel space
		 */
		level = <1>;

		status = "okay";
	};

	loopbacka:loopback@0 {
		compatible = "amlogic, t5-loopbacka";
		#sound-dai-cells = <0>;

		clocks = <&clkaudio CLKID_AUDIO_GATE_PDM
			&clkc CLKID_FCLK_DIV3
			&clkc CLKID_MPLL3
			&clkaudio CLKID_AUDIO_PDMIN0
			&clkaudio CLKID_AUDIO_PDMIN1
			&clkc CLKID_MPLL3
			&clkaudio CLKID_AUDIO_MCLK_A>;
		clock-names = "pdm_gate",
			"pdm_sysclk_srcpll",
			"pdm_dclk_srcpll",
			"pdm_dclk",
			"pdm_sysclk",
			"tdminlb_mpll",
			"tdminlb_mclk";

		/* datain src
		 * 0: tdmin_a;
		 * 1: tdmin_b;
		 * 2: tdmin_c;
		 * 3: spdifin;
		 * 4: pdmin;
		 */
		datain_src = <4>;
		datain_chnum = <4>;
		datain_chmask = <0xf>;
		/* config which data pin for loopback */
		datain-lane-mask-in = <1 0 1 0>;

		/* calc mclk for datalb */
		mclk-fs = <256>;

		/* tdmin_lb src
		 * 0: tdmoutA
		 * 1: tdmoutB
		 * 2: tdmoutC
		 * 3: PAD_TDMINA_DIN*, refer to core pinmux
		 * 4: PAD_TDMINB_DIN*, refer to core pinmux
		 * 5: PAD_TDMINC_DIN*, refer to core pinmux
		 * 6: PAD_TDMINA_D*, oe, refer to core pinmux
		 * 7: PAD_TDMINB_D*, oe, refer to core pinmux
		 */
		/* if tdmin_lb >= 3, use external loopback */
		datalb_src = <1>;
		datalb_chnum = <2>;
		datalb_chmask = <0x3>;
		/* config which data pin as loopback */
		datalb-lane-mask-in = <1 0 0 0>;

		status = "okay";
	};

	loopbackb:loopback@1 {
		compatible = "amlogic, t5-loopbackb";
		#sound-dai-cells = <0>;

		clocks = <&clkaudio CLKID_AUDIO_GATE_PDM
			&clkc CLKID_FCLK_DIV3
			&clkc CLKID_MPLL3
			&clkaudio CLKID_AUDIO_PDMIN0
			&clkaudio CLKID_AUDIO_PDMIN1
			&clkc CLKID_MPLL0
			&clkaudio CLKID_AUDIO_MCLK_A>;
		clock-names = "pdm_gate",
			"pdm_sysclk_srcpll",
			"pdm_dclk_srcpll",
			"pdm_dclk",
			"pdm_sysclk",
			"tdminlb_mpll",
			"tdminlb_mclk";

		/* calc mclk for datain_lb */
		mclk-fs = <256>;

		/* datain src
		 * 0: tdmin_a;
		 * 1: tdmin_b;
		 * 2: tdmin_c;
		 * 3: spdifin;
		 * 4: pdmin;
		 */
		datain_src = <4>;
		datain_chnum = <4>;
		datain_chmask = <0xf>;
		/* config which data pin for loopback */
		datain-lane-mask-in = <1 0 1 0>;

		/* tdmin_lb src
		 * 0: tdmoutA
		 * 1: tdmoutB
		 * 2: tdmoutC
		 * 3: PAD_TDMINA_DIN*, refer to core pinmux
		 * 4: PAD_TDMINB_DIN*, refer to core pinmux
		 * 5: PAD_TDMINC_DIN*, refer to core pinmux
		 * 6: PAD_TDMINA_D*, oe, refer to core pinmux
		 * 7: PAD_TDMINB_D*, oe, refer to core pinmux
		 */
		/* if tdmin_lb >= 3, use external loopback */
		datalb_src = <1>;
		datalb_chnum = <2>;
		datalb_chmask = <0x3>;
		/* config which data pin as loopback */
		datalb-lane-mask-in = <1 0 0 0>;

		status = "disabled";
	};
}; /* end of audiobus */

&earc {
	status = "disabled";
};

&crg_udc_2 {
	status = "okay";
};

&crg_udc_3 {
	status = "disable";
};

&crg20_otg {
	status = "disable";
	controller-type = <3>;
};

&crg21_otg {
	status = "okay";
	controller-type = <3>;
};

&crg2_drd {
	compatible = "amlogic, crg-drd";
	/*compatible = "amlogic, crg-host-drd";*/
	status = "okay";
};

&crg3_drd {
	compatible = "amlogic, crg-host-drd";
	/*compatible = "amlogic, crg-drd";*/
	status = "okay";
};

&crg_phy_20 {
	status = "okay";
	portnum = <1>;
	gpio-vbus-power = "GPIOM_8";
	gpios = <&gpio GPIOM_8 GPIO_ACTIVE_HIGH>;
};

&crg_phy_21 {
	status = "okay";
	portnum = <1>;
	gpio-vbus-power = "GPIOM_9";
	gpios = <&gpio GPIOM_9 GPIO_ACTIVE_HIGH>;
};

&crg3_phy_20 {
	status = "okay";
	portnum = <1>;
};

&crg3_phy_21 {
	status = "okay";
	portnum = <0>;
};

&pcie {
	reset-gpio = <&gpio GPIOH_3 GPIO_ACTIVE_HIGH>;
	status = "disable";
};

&i2c1 {
	status = "okay";
	pinctrl-names="default";
	pinctrl-0=<&i2c1_pins1>;
	clock-frequency = <100000>; /* default 100k */
	sensor-i2c@6c {
		compatible = "arm, i2c-sensor-ssub";
		reg = <0x6c>;
		reg-names = "i2c-sensor";
		slave-addr = <0x6c>;
		reg-type = <2>;
		reg-data-type = <1>;
		link-device = <&phycsi>;
	};

	tas5707_36: tas5707_36@1b {
		compatible = "ti,tas5707";
		#sound-dai-cells = <0>;
		reg = <0x1b>;
		status = "okay";
		reset_pin = <&gpio GPIOT_19 GPIO_ACTIVE_HIGH>;
	};

	tas5707_3a: tas5707_3a@1d {
		compatible = "ti,tas5707";
		#sound-dai-cells = <0>;
		reg = <0x1d>;
		status = "okay";
	};
};

&i2c2 {
	status = "okay";
	pinctrl-names = "default";//, "sleep"
	pinctrl-0 = <&i2c2_pins3>;
	//pinctrl-1 = <&i2c2_sleep_pins2>;
	clock-frequency = <100000>; /* default 100k */
	sensor-i2c@6c {
		compatible = "arm, i2c-sensor";
		reg = <0x6c>;
		reg-names = "i2c-sensor";
		slave-addr = <0x6c>;
		reg-type = <2>;
		reg-data-type = <1>;
		link-device = <&phycsi>;
	};
};

&i2c3 {
	status = "okay";
	pinctrl-names = "default";//, "sleep"
	pinctrl-0 = <&i2c3_pins1>;
	clock-frequency = <100000>; /* default 100k */
	sensor-i2c@6c {
		compatible = "arm, i2c-sensor-sub";
		reg = <0x6c>;
		reg-names = "i2c-sensor";
		slave-addr = <0x6c>;
		reg-type = <2>;
		reg-data-type = <1>;
		link-device = <&phycsi>;
	};
};

&i2c5 {
	status = "okay";
	pinctrl-names = "default";//, "sleep"
	pinctrl-0 = <&i2c5_pins1>;
	//pinctrl-1 = <&i2c2_sleep_pins2>;
	clock-frequency = <100000>; /* default 100k */
};

/* SDIO */
&sd_emmc_a {
	status = "okay";
	pinctrl-0 = <&sdio_pins>;
	pinctrl-1 = <&sdio_clk_gate_pins>;
	pinctrl-names = "default", "clk-gate";
	#address-cells = <1>;
	#size-cells = <0>;

	bus-width = <4>;
	cap-sd-highspeed;
	sd-uhs-sdr50;
	sd-uhs-sdr104;
	max-frequency = <200000000>;

	non-removable;
	disable-wp;

	//vmmc-supply = <&vddao_3v3>;
	//vqmmc-supply = <&vddio_ao1v8>;

	brcmf: wifi@1 {
		reg = <1>;
		compatible = "brcm,bcm4329-fmac";
	};
};

/* SD card */
&sd_emmc_b {
	status = "okay";
	pinctrl-0 = <&sd_all_pins>;
	pinctrl-1 = <&sd_1bit_pins>;
	pinctrl-2 = <&sd_clk_gate_pins>;
	pinctrl-names = "sd_default",
			"sd_1bit_pins",
			"clk-gate";
	bus-width = <4>;
	cap-sd-highspeed;
//	sd-uhs-sdr12;
//	sd-uhs-sdr25;
//	sd-uhs-sdr50;
//	sd_uhs-sdr104;
	max-frequency = <200000000>;

	disable-wp;

	cd-gpios = <&gpio GPIOC_6 GPIO_ACTIVE_HIGH>;
	//dat1-gpios = <&gpio GPIOC_1 GPIO_ACTIVE_HIGH>;
	//vmmc-supply = <&vddao_3v3>;
	//vqmmc-supply = <&emmc_1v8>;
};

&sd_emmc_c {
	status = "okay";
	pinctrl-0 = <&emmc_pins>, <&emmc_ds_pins>;
	pinctrl-1 = <&emmc_clk_gate_pins>;
	pinctrl-names = "default", "clk-gate";

	bus-width = <8>;
	cap-mmc-highspeed;
	mmc-ddr-1_8v;
	mmc-hs200-1_8v;
	mmc-hs400-1_8v;
	//mmc-hs400-enhanced-strobe;
	max-frequency = <200000000>;
	non-removable;
	disable-wp;

//	mmc-pwrseq = <&emmc_pwrseq>;
//	vmmc-supply = <&vddao_3v3>;
//	vqmmc-supply = <&vddao_1v8>;
};

&saradc {
	status = "okay";
};

&ethmac {
	status = "okay";
	phy-handle = <&internal_ephy>;
	phy-mode = "rmii";
};

&uart_A {
	status = "okay";
};

&isp {
	status = "okay";
	temper-line-offset = <0x1680>;
	temper-buf-size = <6>;
	temper-frame-num = <1>;
	temper-frame-size = <0x5EEC00>;
	temper-line-offset1 = <0x1680>;
	temper-buf-size1 = <6>;
	temper-frame-num1 = <1>;
	temper-frame-size1 = <0x5EEC00>;
	temper-line-offset2 = <0x1680>;
	temper-buf-size2 = <6>;
	temper-frame-num2 = <1>;
	temper-frame-size2 = <0x5EEC00>;
	memory-region = <&isp_cma_reserved>;
};

&adapter {
	status = "okay";
	mem_alloc = <32>;
	mem_alloc1 = <16>;
	mem_alloc2 = <16>;
	memory-region = <&adapt_cma_reserved>;
};

&ir {
	status = "disabled";
	pinctrl-0 = <&remote_pins>;
	pinctrl-names = "default";
};

&spifc {
	status = "disabled";
	spi-nor@0 {
		status = "disabled";
	};
};

&spicc2 {	//for UWB/LocalDimm
	status = "disabled";
	pinctrl-names = "default";
	pinctrl-0 = <&spicc2_pins>;
	cs-gpios = <&gpio GPIOY_3 GPIO_ACTIVE_HIGH>;
};

&spicc3 {
	status = "disabled";
	pinctrl-names = "default";
	pinctrl-0 = <&spicc3_pins>;
	cs-gpios = <&gpio GPIOT_9 0>;
	spi-nor@0 {
		compatible = "jedec,spi-nor";
		status = "okay";
		reg = <0>;
		spi-max-frequency = <16000000>;
	};
};

&fb {
	status = "okay";
	display_size_default = <3840 2160 3840 4320 32>;
	mem_size = <0x00800000 0x4000000 0x100000 0x100000 0x100000>;
	4k2k_fb = <1>;
	display_device_cnt = <2>;
	logo_addr = "0x3f800000";
	mem_alloc = <0>;
	pxp_mode = <0>; /** 0:normal mode 1:pxp mode */
};

&amvideom {
	display_device_cnt = <2>;
	vpp0_layer_count = <2>;
	/* number of video layer display on vpp1 */
	vpp1_layer_count = <1>;
};

&amhdmitx {
	status = "okay";
	enc_idx = <0>;
};

/*if you want to use vdin just modify status to "ok"*/
&vdin0 {
	/*memory-region = <&vdin0_cma_reserved>;*/
	status = "okay";
	/*MByte, if 10bit disable: 64M(YUV422),
	 *if 10bit enable: 64*1.5 = 96M(YUV422)
	 *if support 4K2K-YUV444-10bit-WR:3840*2160*4*4 ~= 128M
	 *if support 4K2K-YUV422-10bit-wr:3840*2160*3*4 ~= 96M
	 *if support 4K2K-YUV422-8BIT-WR:3840*2160*2*4 ~= 64M
	 *if support 1080p-YUV422-8BIT-WR:1920*1080*2*4 ~= 16M
	 * onebuffer:
	 * worst case:(4096*2160*3 + 2M(afbce issue)) = 27.5M
	 * dw:960x540x3 = 1.5M
	 * total size:(27.5+1.5)x buffernumber
	 */
	cma_size = <280>;
	frame_buff_num = <10>;
};

&vdin1 {
	memory-region = <&vdin1_cma_reserved>;
	status = "okay";
};

&periphs_pinctrl {
	pdmin_pins: pdmin_pin {
		mux { /* GPIOM_3, GPIOM_4, GPIOM_5, GPIOM_1, GPIOM_2 */
			groups = "pdm_dclk",
				"pdm_din0",
				"pdm_din1_m5",
				"pdm_din2",
				"pdm_din3";
			function = "pdm";
		};
	};

	tdm_b_pins: tdm_b_pin {
		mux { /* GPIOT_1, GPIOT_2, GPIOT_5, GPIOT_6 */
			groups = "tdm_sclk1",
				"tdm_fs1",
				"tdm_d4",
				"tdm_d5";
			function = "tdm";
		};
	};

    dvb_s_ts0_pins: dvb_s_ts0_pins {
		tsin_a {
			groups = "tsin_a_sop_t",
				   "tsin_a_valid_t",
				   "tsin_a_clk_t",
				   "tsin_a_din0_t";
			function = "tsin_a";
		};
	};

	dvb_s_ts1_pins: dvb_s_ts1_pins {
		tsin_b {
			groups = "tsin_b_sop",
				   "tsin_b_valid",
				   "tsin_b_clk",
				   "tsin_b_din0";
			function = "tsin_b";
		};
	};

	lcd_vbyone_a_off_pins: lcd_vbyone_a_off_pin {
		mux {
			groups = "GPIOY_10","GPIOY_12";
			function = "gpio_periphs";
			input-enable;
		};
	};

	lcd_vbyone_b_off_pins: lcd_vbyone_b_off_pin {
		mux {
			groups = "GPIOY_11","GPIOY_13";
			function = "gpio_periphs";
			input-enable;
		};
	};

	lcd_edp_a_off_pins: lcd_edp_a_off_pin {
		mux {
			groups = "GPIOY_10";
			function = "gpio_periphs";
			input-enable;
		};
	};

	lcd_edp_b_off_pins: lcd_edp_b_off_pin {
		mux {
			groups = "GPIOY_11";
			function = "gpio_periphs";
			input-enable;
		};
	};

	bl_pwm_vs_on_pins:bl_pwm_vs_on_pin {
		mux {
			groups = "pwm_vs_y";
			function = "pwm_vs";
		};
	};

	bl_pwm_vs_off_pins:bl_pwm_vs_off_pin {
		mux {
			groups = "GPIOY_14";
			function = "gpio_periphs";
			output-low;
		};
	};

	bl_pwm_off_pins:bl_pwm_off_pin {
		mux {
			groups = "GPIOY_1";
			function = "gpio_periphs";
			output-low;
		};
	};

	bl1_pwm_off_pins:bl1_pwm_off_pin {
		mux {
			groups = "GPIOY_8";
			function = "gpio_periphs";
			output-low;
		};
	};
};

&pinctrl_audio {
	tdm_d4_pins: tdm_d4_pin {
		mux {
			groups = "tdm_d4";
			function = "tdmoutb_lane0";
		};
	};

	tdm_d5_pins: tdm_d5_pin {
		mux {
			groups = "tdm_d5";
			function = "tdmoutb_lane1";
		};
	};

	tdm_clk_pins: tdm_clk_pin {
		mux {
			groups = "tdm_sclk1", "tdm_lrclk1";
			function = "tdm_clk_outb";
		};
	};
};

&ir {
	status = "okay";
	pinctrl-0 = <&remote_pins>;
	pinctrl-names = "default";
};

&amlvecm {
	status = "okay";
	gamma_en = <0>;/*1:enabel ;0:disable*/
	wb_en = <0>;/*1:enabel ;0:disable*/
	cm_en = <0>;/*1:enabel ;0:disable*/
	wb_sel = <0>;/*1:mtx ;0:gainoff*/
	vlock_en = <1>;/*1:enable;0:disable*/
	vlock_mode = <0x8>;
	/*vlock work mode:
	 *bit0:auto ENC
	 *bit1:auto PLL
	 *bit2:manual PLL
	 *bit3:manual ENC
	 *bit4:manual soft ENC
	 *bit5:manual MIX PLL ENC
	 */
	 vlock_pll_m_limit = <1>;
	 vlock_line_limit = <2>;
};

&aml_wifi{
	status = "okay";
	interrupt-gpios = <&gpio  GPIOX_7  GPIO_ACTIVE_HIGH>;
	power_on-gpios = <&gpio   GPIOX_6  GPIO_ACTIVE_HIGH>;
};

&aml_bt {
	status = "okay";
	reset-gpios = <&gpio    GPIOX_17 GPIO_ACTIVE_HIGH>;
	hostwake-gpios = <&gpio GPIOX_19 GPIO_ACTIVE_HIGH>;
};

&pwm_ab {
	pinctrl-0 = <&pwm_a_pins>;
	pinctrl-names = "default";
	status = "okay";
};

&pwm_ef {
	status = "okay";
};

&irblaster {
	status = "okay";
};

&uart_C {
	status = "okay";
	uart-has-rtscts;
};

&pwmao_ab {
	status = "okay";
};

&pwmao_cd {
	pinctrl-names = "default";
	pinctrl-0 = <&pwm_ao_d_pins>;
	status = "okay";
};

&vddcpua {
	status = "okay";
};

&vddcpub {
	status = "okay";
};

&CPU0 {
	cpu-supply = <&vddcpua>;
	multi_tables_available;
	operating-points-v2 = <&a73pwm_opp_table0>,
		<&a73pwm_opp_table1>,
		<&a73pwm_opp_table2>,
		<&a73pwm_opp_table3>;
};

&CPU1 {
	cpu-supply = <&vddcpua>;
	multi_tables_available;
	operating-points-v2 = <&a73pwm_opp_table0>,
		<&a73pwm_opp_table1>,
		<&a73pwm_opp_table2>,
		<&a73pwm_opp_table3>;
};

&CPU2 {
	cpu-supply = <&vddcpua>;
	multi_tables_available;
	operating-points-v2 = <&a73pwm_opp_table0>,
		<&a73pwm_opp_table1>,
		<&a73pwm_opp_table2>,
		<&a73pwm_opp_table3>;
};

&CPU3 {
	cpu-supply = <&vddcpua>;
	multi_tables_available;
	operating-points-v2 = <&a73pwm_opp_table0>,
		<&a73pwm_opp_table1>,
		<&a73pwm_opp_table2>,
		<&a73pwm_opp_table3>;
};

&CPU4 {
	cpu-supply = <&vddcpub>;
	multi_tables_available;
	operating-points-v2 = <&a53pwm_opp_table0>,
		<&a53pwm_opp_table1>,
		<&a53pwm_opp_table2>,
		<&a53pwm_opp_table3>;
};

&CPU5 {
	cpu-supply = <&vddcpub>;
	multi_tables_available;
	operating-points-v2 = <&a53pwm_opp_table0>,
		<&a53pwm_opp_table1>,
		<&a53pwm_opp_table2>,
		<&a53pwm_opp_table3>;
};

&CPU6 {
	cpu-supply = <&vddcpub>;
	multi_tables_available;
	operating-points-v2 = <&a53pwm_opp_table0>,
		<&a53pwm_opp_table1>,
		<&a53pwm_opp_table2>,
		<&a53pwm_opp_table3>;
};

&CPU7 {
	cpu-supply = <&vddcpub>;
	multi_tables_available;
	operating-points-v2 = <&a53pwm_opp_table0>,
		<&a53pwm_opp_table1>,
		<&a53pwm_opp_table2>,
		<&a53pwm_opp_table3>;
};
